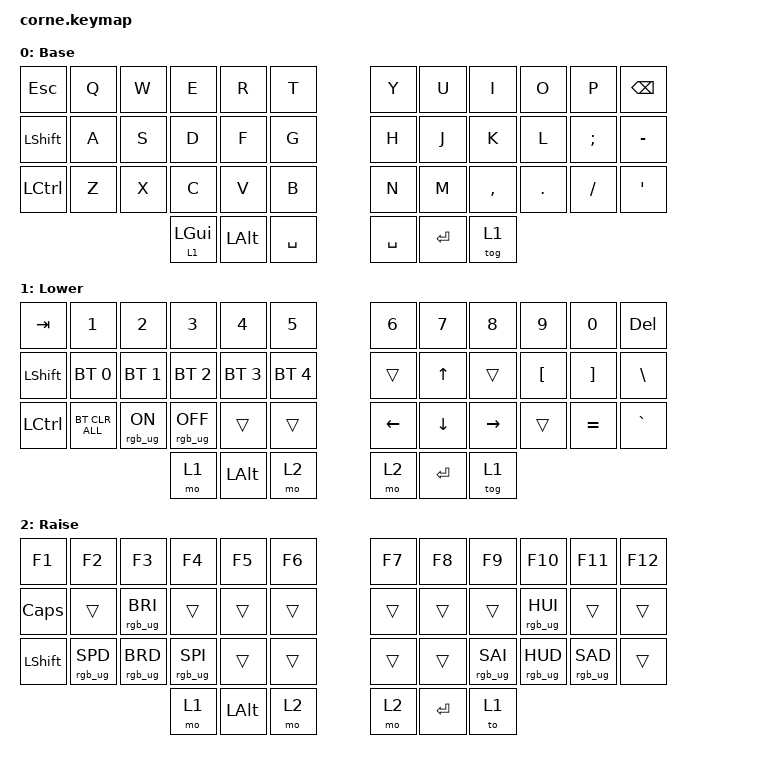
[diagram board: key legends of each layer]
/*
 * Copyright (c) 2020 The ZMK Contributors
 *
 * SPDX-License-Identifier: MIT
 */

#include <behaviors.dtsi>
#include <dt-bindings/zmk/bt.h>
#include <dt-bindings/zmk/keys.h>
#include <dt-bindings/zmk/rgb.h>

/ {
    keymap {
        compatible = "zmk,keymap";

        default_layer {
            // -----------------------------------------------------------------------------------------
            // |  TAB |  Q  |  W  |  E  |  R  |  T  |   |  Y  |  U   |  I  |  O  |  P  | BKSP |
            // | CTRL |  A  |  S  |  D  |  F  |  G  |   |  H  |  J   |  K  |  L  |  ;  |  '   |
            // | SHFT |  Z  |  X  |  C  |  V  |  B  |   |  N  |  M   |  ,  |  .  |  /  | ESC  |
            //                    | GUI | LWR | SPC |   | ENT | RSE  | ALT |

            display-name = "Base";
            bindings = <
&kp ESC         &kp Q  &kp W  &kp E           &kp R         &kp T        &kp Y      &kp U      &kp I      &kp O    &kp P     &kp BSPC
&kp LEFT_SHIFT  &kp A  &kp S  &kp D           &kp F         &kp G        &kp H      &kp J      &kp K      &kp L    &kp SEMI  &kp MINUS
&kp LCTRL       &kp Z  &kp X  &kp C           &kp V         &kp B        &kp N      &kp M      &kp COMMA  &kp DOT  &kp FSLH  &kp APOSTROPHE
                              &lt 1 LEFT_GUI  &kp LEFT_ALT  &kp SPACE    &kp SPACE  &kp ENTER  &tog 1
            >;
        };

        lower_layer {
            // -----------------------------------------------------------------------------------------
            // |  TAB |  1  |  2  |  3  |  4  |  5  |   |  6  |  7  |  8  |  9  |  0  | BKSP |
            // | BTCLR| BT1 | BT2 | BT3 | BT4 | BT5 |   | LFT | DWN |  UP | RGT |     |      |
            // | SHFT |     |     |     |     |     |   |     |     |     |     |     |      |
            //                    | GUI |     | SPC |   | ENT |     | ALT |

            display-name = "Lower";
            bindings = <
&kp TAB         &kp N1          &kp N2          &kp N3           &kp N4        &kp N5          &kp N6          &kp N7          &kp N8           &kp N9            &kp N0             &kp DEL
&kp LEFT_SHIFT  &bt BT_SEL 0    &bt BT_SEL 1    &bt BT_SEL 2     &bt BT_SEL 3  &bt BT_SEL 4    &trans          &kp UP_ARROW    &trans           &kp LEFT_BRACKET  &kp RIGHT_BRACKET  &kp BACKSLASH
&kp LCTRL       &bt BT_CLR_ALL  &rgb_ug RGB_ON  &rgb_ug RGB_OFF  &trans        &trans          &kp LEFT_ARROW  &kp DOWN_ARROW  &kp RIGHT_ARROW  &trans            &kp EQUAL          &kp GRAVE
                                                &mo 1            &kp LEFT_ALT  &mo 2           &mo 2           &kp ENTER       &tog 1
            >;
        };

        raise_layer {
            // -----------------------------------------------------------------------------------------
            // |  TAB |  !  |  @  |  #  |  $  |  %  |   |  ^  |  &  |  *  |  (  |  )  | BKSP |
            // | CTRL |     |     |     |     |     |   |  -  |  =  |  [  |  ]  |  \  |  `   |
            // | SHFT |     |     |     |     |     |   |  _  |  +  |  {  |  }  | "|" |  ~   |
            //                    | GUI |     | SPC |   | ENT |     | ALT |

            display-name = "Raise";
            bindings = <
&kp F1        &kp F2           &kp F3           &kp F4           &kp F5        &kp F6    &kp F7  &kp F8     &kp F9           &kp F10          &kp F11          &kp F12
&kp CAPSLOCK  &trans           &rgb_ug RGB_BRI  &trans           &trans        &trans    &trans  &trans     &trans           &rgb_ug RGB_HUI  &trans           &trans
&kp LSHFT     &rgb_ug RGB_SPD  &rgb_ug RGB_BRD  &rgb_ug RGB_SPI  &trans        &trans    &trans  &trans     &rgb_ug RGB_SAI  &rgb_ug RGB_HUD  &rgb_ug RGB_SAD  &trans
                                                &mo 1            &kp LEFT_ALT  &mo 2     &mo 2   &kp ENTER  &to 1
            >;
        };
    };
};
